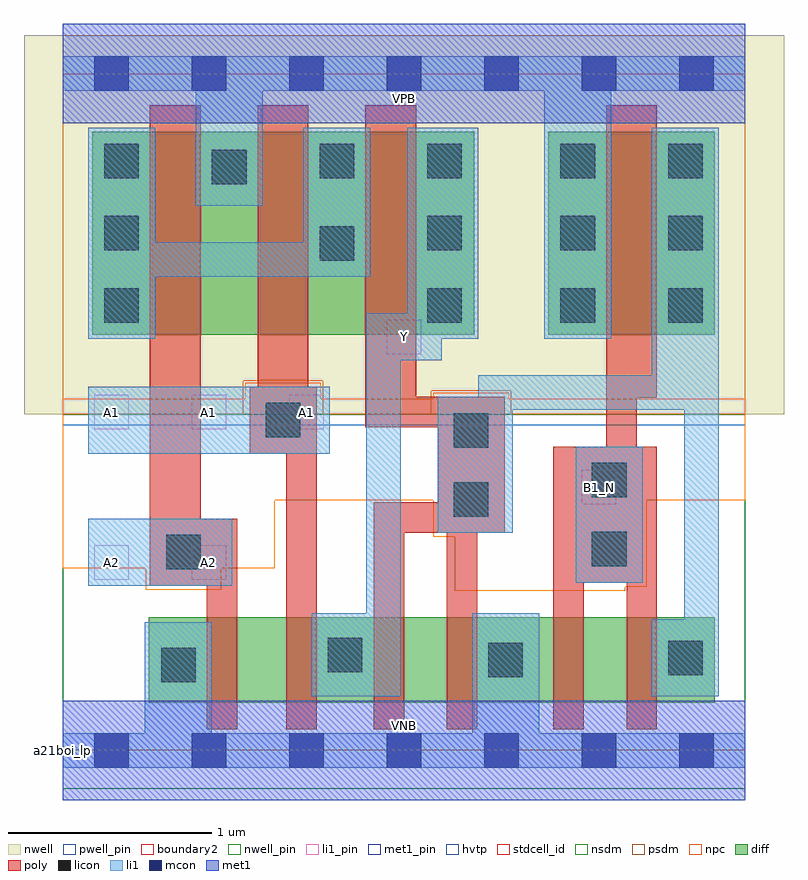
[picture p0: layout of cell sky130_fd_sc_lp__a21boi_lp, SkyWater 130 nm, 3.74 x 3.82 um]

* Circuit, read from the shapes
.subckt sky130_fd_sc_lp__a21boi_lp A1 A2 B1_N VGND VNB VPB VPWR Y
XM1 n1 A2 VGND VNB sky130_fd_pr__nfet_01v8 w=0.42 l=0.15
XM2 Y A1 n1 VNB sky130_fd_pr__nfet_01v8 w=0.42 l=0.15
XM3 n2 n3 Y VNB sky130_fd_pr__nfet_01v8 w=0.42 l=0.15
XM4 VGND n3 n2 VNB sky130_fd_pr__nfet_01v8 w=0.42 l=0.15
XM5 n4 B1_N VGND VNB sky130_fd_pr__nfet_01v8 w=0.42 l=0.15
XM6 n3 B1_N n4 VNB sky130_fd_pr__nfet_01v8 w=0.42 l=0.15
XM7 VPWR A2 n5 VPB sky130_fd_pr__pfet_01v8_hvt w=1 l=0.25
XM8 n5 A1 VPWR VPB sky130_fd_pr__pfet_01v8_hvt w=1 l=0.25
XM9 Y n3 n5 VPB sky130_fd_pr__pfet_01v8_hvt w=1 l=0.25
XM10 n3 B1_N VPWR VPB sky130_fd_pr__pfet_01v8_hvt w=1 l=0.25
.ends

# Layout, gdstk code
import gdstk
lib = gdstk.Library(unit=1e-6, precision=1e-09)
def R(c, l, rs):  # rectangles x0, y0, x1, y1
    for r in rs: c.add(gdstk.rectangle(r[:2], r[2:], *l))
def A(c, l, x, y, w, h, nx, ny, dx, dy):  # array of equal rectangles
    R(c, l, [(x+i*dx, y+j*dy, x+i*dx+w, y+j*dy+h) for i in range(nx) for j in range(ny)])
def P(c, l, *ps):  # polygons
    for p in ps: c.add(gdstk.Polygon(p, *l))
nwell_pin = (64, 16)
nwell = (64, 20)
diff = (65, 20)
poly = (66, 20)
licon = (66, 44)
li1_pin = (67, 16)
li1 = (67, 20)
mcon = (67, 44)
met1_pin = (68, 16)
met1 = (68, 20)
hvtp = (78, 44)
stdcell_id = (81, 4)
nsdm = (93, 44)
psdm = (94, 20)
npc = (95, 20)
pwell_pin = (122, 16)
boundary2 = (236, 0)

sky130_fd_sc_lp__a21boi_ = lib.new_cell('sky130_fd_sc_lp__a21boi_lp')
R(sky130_fd_sc_lp__a21boi_, nwell_pin, [(0,3.085,3.36,3.33)])
R(sky130_fd_sc_lp__a21boi_, nwell, [(-0.19,1.655,3.55,3.52)])
R(sky130_fd_sc_lp__a21boi_, diff, [(0.425,0.235,3.21,0.655), (0.145,2.045,2.025,3.045), (2.39,2.045,3.21,3.045)])
P(sky130_fd_sc_lp__a21boi_, poly, [(0.86,1.14),(0.68,1.14),(0.68,3.175),(0.43,3.175),(0.43,0.81),(0.71,0.81),(0.71,0.105),(0.86,0.105)],
  [(1.25,1.79),(1.21,1.79),(1.21,3.175),(0.96,3.175),(0.96,1.79),(0.92,1.79),(0.92,1.46),(1.1,1.46),(1.1,0.105),(1.25,0.105)],
  [(2.175,1.74),(1.74,1.74),(1.74,3.175),(1.49,3.175),(1.49,1.59),(1.845,1.59),(1.845,1.22),(1.53,1.22),(1.53,0.105),(1.68,0.105),(1.68,1.07),(1.89,1.07),(1.89,0.105),(2.04,0.105),(2.04,1.07),(2.175,1.07)],
  [(2.925,1.495),(2.825,1.495),(2.825,1.735),(2.925,1.735),(2.925,3.175),(2.675,3.175),(2.675,1.495),(2.415,1.495),(2.415,0.105),(2.565,0.105),(2.565,0.825),(2.775,0.825),(2.775,0.105),(2.925,0.105)])
A(sky130_fd_sc_lp__a21boi_, licon, 0.205, 2.105, 0.17, 0.17, 1, 3, 0, 0.355)
A(sky130_fd_sc_lp__a21boi_, licon, 1.795, 2.105, 0.17, 0.17, 1, 3, 0, 0.355)
A(sky130_fd_sc_lp__a21boi_, licon, 2.45, 2.105, 0.17, 0.17, 1, 3, 0, 0.355)
A(sky130_fd_sc_lp__a21boi_, licon, 2.98, 2.105, 0.17, 0.17, 1, 3, 0, 0.355)
R(sky130_fd_sc_lp__a21boi_, licon, [(0.485,0.335,0.655,0.505), (2.095,0.36,2.265,0.53), (2.98,0.37,3.15,0.54), (1.305,0.385,1.475,0.555), (0.51,0.89,0.68,1.06), (2.605,0.905,2.775,1.075), (1.925,1.15,2.095,1.32), (2.605,1.245,2.775,1.415), (1.925,1.49,2.095,1.66), (1,1.54,1.17,1.71), (1.265,2.41,1.435,2.58), (0.735,2.785,0.905,2.955), (1.265,2.815,1.435,2.985)])
A(sky130_fd_sc_lp__a21boi_, li1_pin, 0.155, 1.58, 0.17, 0.17, 3, 1, 0.48, 0)
R(sky130_fd_sc_lp__a21boi_, li1_pin, [(0.155,0.84,0.325,1.01), (0.635,0.84,0.805,1.01), (2.555,1.21,2.725,1.38), (1.595,1.95,1.765,2.12)])
R(sky130_fd_sc_lp__a21boi_, li1, [(0.125,0.81,0.835,1.14), (2.525,0.825,2.855,1.495), (0.125,1.46,1.315,1.79)])
P(sky130_fd_sc_lp__a21boi_, li1, [(2.37,2.025),(2.37,3.245),(0.985,3.245),(0.985,2.68),(0.655,2.68),(0.655,3.245),(0,3.245),(0,3.415),(3.36,3.415),(3.36,3.245),(2.7,3.245),(2.7,2.025)],
  [(0.405,0.085),(0.405,0.63),(0.735,0.63),(0.735,0.085),(2.015,0.085),(2.015,0.675),(2.345,0.675),(2.345,0.085),(3.36,0.085),(3.36,-0.085),(0,-0.085),(0,0.085)],
  [(1.495,0.675),(1.495,2.15),(1.695,2.15),(1.695,3.065),(2.045,3.065),(2.045,2.025),(1.865,2.025),(1.865,1.92),(1.665,1.92),(1.665,0.265),(1.225,0.265),(1.225,0.675)],
  [(2.045,1.74),(2.045,1.845),(2.9,1.845),(2.9,3.065),(3.23,3.065),(3.23,0.265),(2.9,0.265),(2.9,0.645),(3.06,0.645),(3.06,1.675),(2.215,1.675),(2.215,1.07),(1.845,1.07),(1.845,1.74)],
  [(1.185,2.5),(1.185,3.065),(1.515,3.065),(1.515,2.33),(0.455,2.33),(0.455,2.025),(0.125,2.025),(0.125,3.065),(0.455,3.065),(0.455,2.5)])
A(sky130_fd_sc_lp__a21boi_, mcon, 0.155, -0.085, 0.17, 0.17, 7, 2, 0.48, 3.33)
R(sky130_fd_sc_lp__a21boi_, met1_pin, [(0,0,3.36,0.245), (0,3.085,3.36,3.33)])
R(sky130_fd_sc_lp__a21boi_, met1, [(0,-0.245,3.36,0.245), (0,3.085,3.36,3.575)])
R(sky130_fd_sc_lp__a21boi_, hvtp, [(0,1.6,3.36,3.33)])
R(sky130_fd_sc_lp__a21boi_, stdcell_id, [(0,0,3.36,3.33)])
R(sky130_fd_sc_lp__a21boi_, nsdm, [(0,-0.19,3.36,1.655)])
P(sky130_fd_sc_lp__a21boi_, psdm, [(3.36,3.52),(0,3.52),(0,1.655),(0.89,1.655),(0.89,1.82),(1.28,1.82),(1.28,1.655),(1.815,1.655),(1.815,1.77),(2.205,1.77),(2.205,1.655),(3.36,1.655)])
P(sky130_fd_sc_lp__a21boi_, npc, [(3.36,1.73),(2.195,1.73),(2.195,1.76),(1.825,1.76),(1.825,1.73),(1.27,1.73),(1.27,1.81),(0.9,1.81),(0.9,1.73),(0,1.73),(0,0.895),(0.41,0.895),(0.41,0.79),(0.78,0.79),(0.78,0.895),(1.045,0.895),(1.045,1.23),(1.825,1.23),(1.825,1.05),(1.93,1.05),(1.93,0.785),(2.77,0.785),(2.77,0.805),(2.875,0.805),(2.875,1.23),(3.36,1.23)])
R(sky130_fd_sc_lp__a21boi_, pwell_pin, [(0,0,3.36,0.245)])
R(sky130_fd_sc_lp__a21boi_, boundary2, [(0,0,3.36,3.33)])
sky130_fd_sc_lp__a21boi_.add(gdstk.Label('VNB', (1.68,0.123), layer=64, texttype=59))
sky130_fd_sc_lp__a21boi_.add(gdstk.Label('VPB', (1.68,3.208), layer=64, texttype=5))
sky130_fd_sc_lp__a21boi_.add(gdstk.Label('a21boi_lp', (0,0), layer=83, texttype=44))
sky130_fd_sc_lp__a21boi_.add(gdstk.Label('VPWR', (1.68,3.208), layer=68, texttype=5))
sky130_fd_sc_lp__a21boi_.add(gdstk.Label('VGND', (1.68,0.123), layer=68, texttype=5))
sky130_fd_sc_lp__a21boi_.add(gdstk.Label('B1_N', (2.64,1.295), layer=67, texttype=5))
sky130_fd_sc_lp__a21boi_.add(gdstk.Label('Y', (1.68,2.035), layer=67, texttype=5))
sky130_fd_sc_lp__a21boi_.add(gdstk.Label('A2', (0.24,0.925), layer=67, texttype=5))
sky130_fd_sc_lp__a21boi_.add(gdstk.Label('A2', (0.72,0.925), layer=67, texttype=5))
sky130_fd_sc_lp__a21boi_.add(gdstk.Label('A1', (0.24,1.665), layer=67, texttype=5))
sky130_fd_sc_lp__a21boi_.add(gdstk.Label('A1', (0.72,1.665), layer=67, texttype=5))
sky130_fd_sc_lp__a21boi_.add(gdstk.Label('A1', (1.2,1.665), layer=67, texttype=5))

lib.write_gds('sky130_fd_sc_lp__a21boi_lp.gds')
